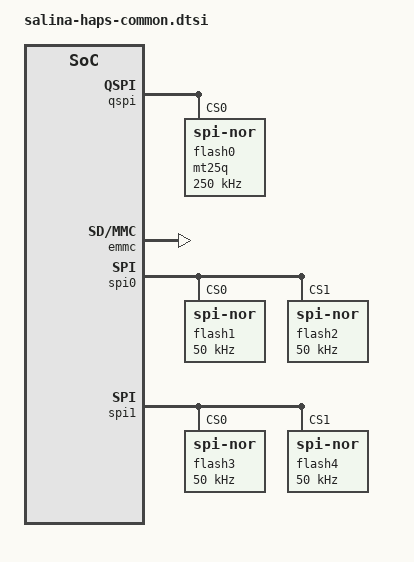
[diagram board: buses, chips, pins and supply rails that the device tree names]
// SPDX-License-Identifier: (GPL-2.0-only or BSD-2-Clause)
/*
 * Copyright 2023-2024 Advanced Micro Devices, Inc.
 */

&ahb_clk {
	clock-frequency = <4160000>;
};

&emmc_clk {
	clock-frequency = <208000000>;
};

&flash_clk {
	clock-frequency = <2000000>;
};

&ref_clk {
	clock-frequency = <1562500>;	/* UART 115200 works at 19200 */
};

&qspi {
	status = "okay";
	flash0: mt25q@0 {
		compatible = "jedec,spi-nor";
		reg = <0>;
		spi-max-frequency = <250000>;
		spi-rx-bus-width = <4>;
		m25p,fast-read;
		cdns,read-delay = <0>;
		cdns,tshsl-ns = <0>;
		cdns,tsd2d-ns = <0>;
		cdns,tchsh-ns = <0>;
		cdns,tslch-ns = <0>;
	};
};


&gpio0 {
	status = "ok";
};

&gpio1 {
	status = "ok";
};

&emmc {
	status = "ok";
};

&spi0 {
	status = "okay";

	flash1: cysnor@0 {
		compatible = "jedec,spi-nor";
		reg = <0>;
		spi-max-frequency = <50000>;
		spi-rx-bus-width = <1>;
		m25p,fast-read;
		cdns,read-delay = <0>;
		cdns,tshsl-ns = <0>;
		cdns,tsd2d-ns = <0>;
		cdns,tchsh-ns = <0>;
		cdns,tslch-ns = <0>;
	};

	flash2: cysnor@1 {
		compatible = "jedec,spi-nor";
		reg = <1>;
		spi-max-frequency = <50000>;
		spi-rx-bus-width = <1>;
		m25p,fast-read;
		cdns,read-delay = <0>;
		cdns,tshsl-ns = <0>;
		cdns,tsd2d-ns = <0>;
		cdns,tchsh-ns = <0>;
		cdns,tslch-ns = <0>;
	};
};

&spi1 {
	status = "okay";

	flash3: cysnor@0 {
		compatible = "jedec,spi-nor";
		reg = <0>;
		spi-max-frequency = <50000>;
		spi-rx-bus-width = <1>;
		m25p,fast-read;
		cdns,read-delay = <0>;
		cdns,tshsl-ns = <0>;
		cdns,tsd2d-ns = <0>;
		cdns,tchsh-ns = <0>;
		cdns,tslch-ns = <0>;
		};

	flash4: cysnor@1 {
		compatible = "jedec,spi-nor";
		reg = <1>;
		spi-max-frequency = <50000>;
		spi-rx-bus-width = <1>;
		m25p,fast-read;
		cdns,read-delay = <0>;
		cdns,tshsl-ns = <0>;
		cdns,tsd2d-ns = <0>;
		cdns,tchsh-ns = <0>;
		cdns,tslch-ns = <0>;
	};
};
